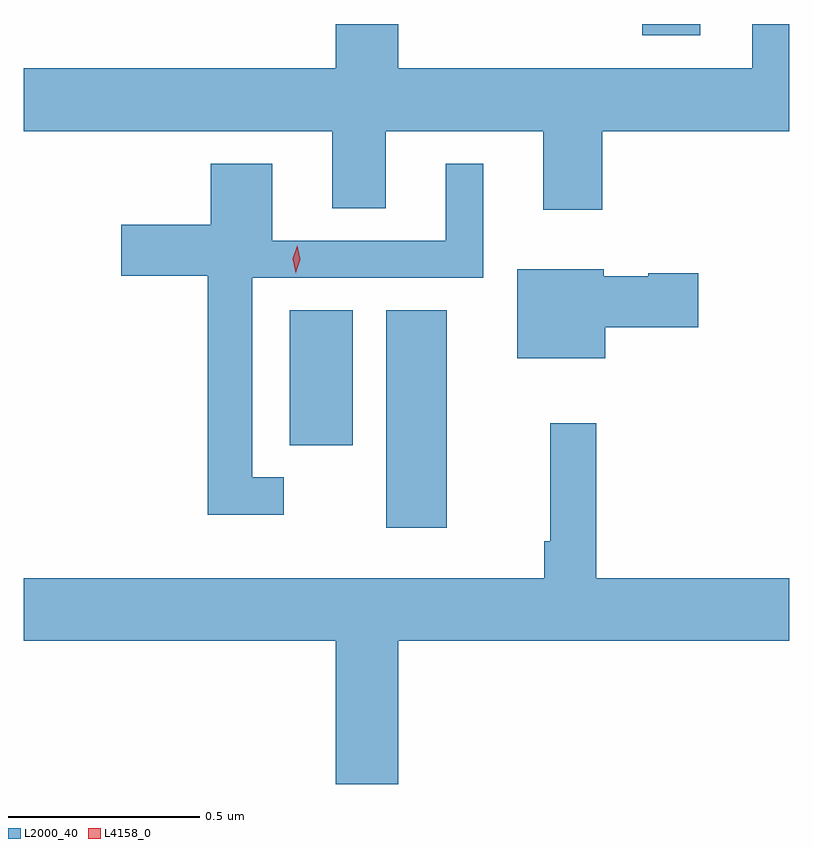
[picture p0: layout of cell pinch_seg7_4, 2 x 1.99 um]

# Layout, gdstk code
import gdstk
lib = gdstk.Library(unit=1e-6, precision=1e-09)
def R(c, l, rs):  # rectangles x0, y0, x1, y1
    for r in rs: c.add(gdstk.rectangle(r[:2], r[2:], *l))
def P(c, l, *ps):  # polygons
    for p in ps: c.add(gdstk.Polygon(p, *l))
L2000_40 = (2000, 40)
L4158_0 = (4158, 0)

pinch_seg7_4 = lib.new_cell('pinch_seg7_4')
R(pinch_seg7_4, L2000_40, [(1040.264,1060.851,1040.422,1061.42), (1040.012,1061.067,1040.176,1061.42), (1040.933,1062.138,1041.085,1062.168)])
P(pinch_seg7_4, L2000_40, [(1040.828,1061.888),(1041.317,1061.888),(1041.317,1062.168),(1041.221,1062.168),(1041.221,1062.052),(1040.296,1062.052),(1040.296,1062.168),(1040.132,1062.168),(1040.132,1062.052),(1039.317,1062.052),(1039.317,1061.888),(1040.123,1061.888),(1040.123,1061.686),(1040.263,1061.686),(1040.263,1061.888),(1040.675,1061.888),(1040.675,1061.682),(1040.828,1061.682)],
  [(1039.996,1060.983),(1039.914,1060.983),(1039.914,1061.505),(1040.518,1061.505),(1040.518,1061.803),(1040.42,1061.803),(1040.42,1061.601),(1039.966,1061.601),(1039.966,1061.803),(1039.805,1061.803),(1039.805,1061.644),(1039.572,1061.644),(1039.572,1061.51),(1039.798,1061.51),(1039.798,1060.886),(1039.996,1060.886)],
  [(1040.836,1061.375),(1041.079,1061.375),(1041.079,1061.517),(1040.949,1061.517),(1040.949,1061.509),(1040.832,1061.509),(1040.832,1061.527),(1040.606,1061.527),(1040.606,1061.294),(1040.836,1061.294)],
  [(1040.296,1060.556),(1041.317,1060.556),(1041.317,1060.72),(1040.813,1060.72),(1040.813,1061.125),(1040.692,1061.125),(1040.692,1060.816),(1040.677,1060.816),(1040.677,1060.72),(1039.317,1060.72),(1039.317,1060.556),(1040.132,1060.556),(1040.132,1060.182),(1040.296,1060.182)])
P(pinch_seg7_4, L4158_0, [(1040.028,1061.517),(1040.028,1061.518),(1040.02,1061.554),(1040.031,1061.589),(1040.031,1061.589),(1040.031,1061.589),(1040.04,1061.553),(1040.028,1061.518)])

lib.write_gds('pinch_seg7_4.gds')
